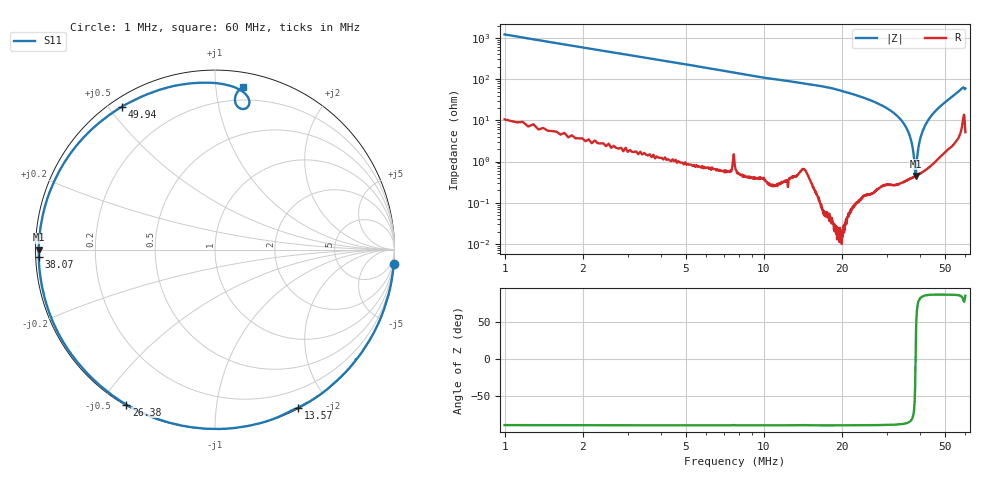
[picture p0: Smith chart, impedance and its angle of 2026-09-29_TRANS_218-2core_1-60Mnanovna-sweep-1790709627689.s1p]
! NanoVNA Web complex sweep
! Processing: unaveraged complex samples; linear segment spacing; no smoothing
# Hz S RI R 50
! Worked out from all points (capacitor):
!   1010 points, 1 MHz to 60 MHz, reference 50 ohm
!   read as one part to ground: C = 135 pF near 1.292 MHz
!   lowest |Z| = 445 mohm at 38.54 MHz (marker M1)
!   series resonance near 38.54 MHz, so ESL is about 130 nH
!   S11 on the Smith chart (normalised r, x): 1 MHz: 0, -24; 13.57 MHz: 0.01, -1.65; 26.38 MHz: 0.00, -0.58; 38.07 MHz: 0.01, -0.02; 49.94 MHz: 0.03, +0.54; 60 MHz: 0.10, +1.18
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1000000  0.9959 -0.0823
4625388  0.9201 -0.3878
8426198  0.7442 -0.6648
1.018042e7  0.638 -0.7669
1.357191e7  0.4625 -0.8807
1.579392e7  0.3427 -0.9369
1.795746e7  0.2108 -0.977
1.982863e7  0.0501 -0.9984
2.316165e7  -0.2378 -0.9686
2.637772e7  -0.4941 -0.8635
3.052937e7  -0.7626 -0.632
3.427171e7  -0.9221 -0.3554
3.789709e7  -0.9817 -0.0544
3.807252e7  -0.9822 -0.0393
3.854031e7  -0.9824 0.000204
4.181485e7  -0.9374 0.274
4.526482e7  -0.8057 0.5352
4.760378e7  -0.6747 0.681
4.994274e7  -0.5192 0.7961
5.263254e7  -0.3182 0.8874
5.444524e7  -0.1693 0.9221
5.619946e7  -0.0182 0.9294
5.748588e7  0.0977 0.9085
5.842147e7  0.1761 0.8599
5.883079e7  0.1916 0.8187
5.92401e7  0.1573 0.7832
5.959095e7  0.1115 0.828
6.000027e7  0.1549 0.9046
